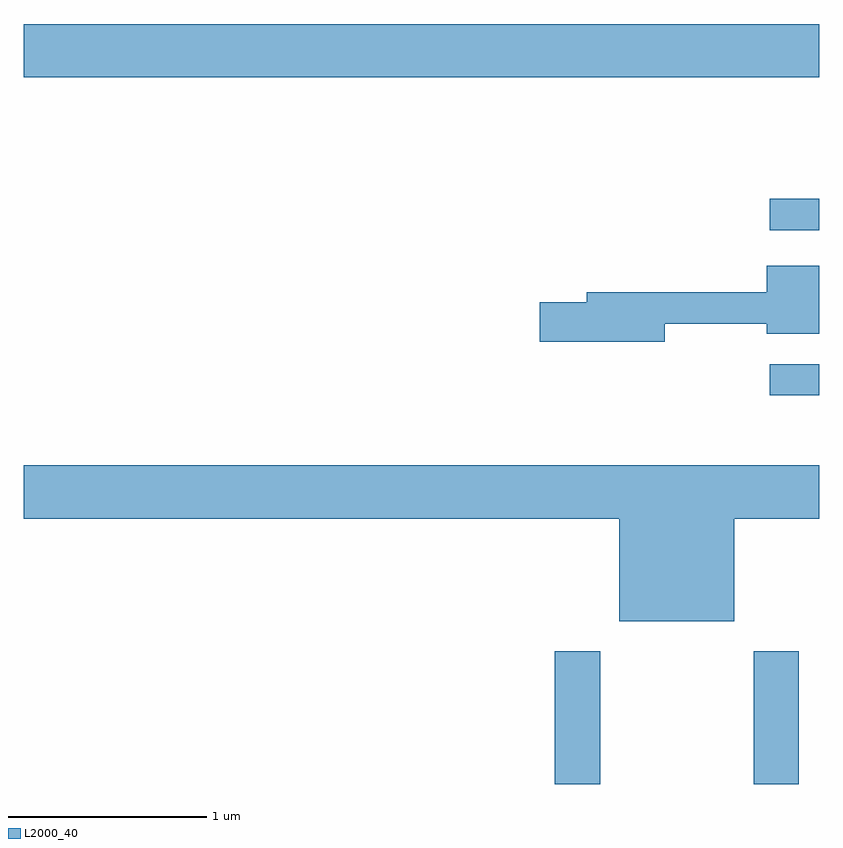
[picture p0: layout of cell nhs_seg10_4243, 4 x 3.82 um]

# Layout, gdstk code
import gdstk
lib = gdstk.Library(unit=1e-6, precision=1e-09)
def R(c, l, rs):  # rectangles x0, y0, x1, y1
    for r in rs: c.add(gdstk.rectangle(r[:2], r[2:], *l))
def P(c, l, *ps):  # polygons
    for p in ps: c.add(gdstk.Polygon(p, *l))
L2000_40 = (2000, 40)

nhs_seg10_4243 = lib.new_cell('nhs_seg10_4243')
R(nhs_seg10_4243, L2000_40, [(312.281,2172.522,312.509,2173.189), (313.281,2172.522,313.509,2173.189), (313.363,2174.476,313.611,2174.634), (313.363,2175.306,313.611,2175.464), (309.611,2176.076,313.611,2176.344)])
P(nhs_seg10_4243, L2000_40, [(312.834,2174.836),(313.346,2174.836),(313.346,2174.786),(313.611,2174.786),(313.611,2175.129),(313.346,2175.129),(313.346,2174.994),(312.441,2174.994),(312.441,2174.944),(312.206,2174.944),(312.206,2174.746),(312.834,2174.746)],
  [(313.184,2173.856),(313.611,2173.856),(313.611,2174.124),(309.611,2174.124),(309.611,2173.856),(312.606,2173.856),(312.606,2173.341),(313.184,2173.341)])

lib.write_gds('nhs_seg10_4243.gds')
